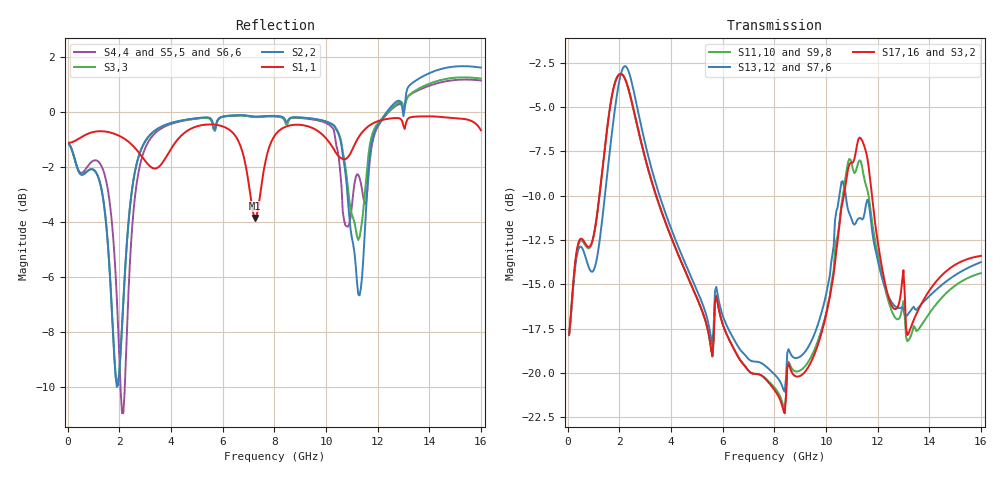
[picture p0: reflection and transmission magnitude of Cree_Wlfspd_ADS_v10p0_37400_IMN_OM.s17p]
! AWR Design Environment (9226) Fri Apr 12 11:08:25 2019
! Document = '37400_IMN_OM'
! nPorts: 17, nXvals: 321
!Freq DBS11 AngS11 DBS12 AngS12 DBS13 AngS13 DBS14 AngS14
!	DBS15 AngS15 DBS16 AngS16 DBS17 AngS17 DBS18 AngS18
!	DBS19 AngS19 DBS1_10 AngS1_10 DBS1_11 AngS1_11 DBS1_12 AngS1_12
!	DBS1_13 AngS1_13 DBS1_14 AngS1_14 DBS1_15 AngS1_15 DBS1_16 AngS1_16
!	DBS1_17 AngS1_17
!	DBS21 AngS21 DBS22 AngS22 DBS23 AngS23 DBS24 AngS24
!	DBS25 AngS25 DBS26 AngS26 DBS27 AngS27 DBS28 AngS28
!	DBS29 AngS29 DBS2_10 AngS2_10 DBS2_11 AngS2_11 DBS2_12 AngS2_12
!	DBS2_13 AngS2_13 DBS2_14 AngS2_14 DBS2_15 AngS2_15 DBS2_16 AngS2_16
!	DBS2_17 AngS2_17
!	DBS31 AngS31 DBS32 AngS32 DBS33 AngS33 DBS34 AngS34
!	DBS35 AngS35 DBS36 AngS36 DBS37 AngS37 DBS38 AngS38
!	DBS39 AngS39 DBS3_10 AngS3_10 DBS3_11 AngS3_11 DBS3_12 AngS3_12
!	DBS3_13 AngS3_13 DBS3_14 AngS3_14 DBS3_15 AngS3_15 DBS3_16 AngS3_16
!	DBS3_17 AngS3_17
!	DBS41 AngS41 DBS42 AngS42 DBS43 AngS43 DBS44 AngS44
!	DBS45 AngS45 DBS46 AngS46 DBS47 AngS47 DBS48 AngS48
!	DBS49 AngS49 DBS4_10 AngS4_10 DBS4_11 AngS4_11 DBS4_12 AngS4_12
!	DBS4_13 AngS4_13 DBS4_14 AngS4_14 DBS4_15 AngS4_15 DBS4_16 AngS4_16
!	DBS4_17 AngS4_17
!	DBS51 AngS51 DBS52 AngS52 DBS53 AngS53 DBS54 AngS54
!	DBS55 AngS55 DBS56 AngS56 DBS57 AngS57 DBS58 AngS58
!	DBS59 AngS59 DBS5_10 AngS5_10 DBS5_11 AngS5_11 DBS5_12 AngS5_12
!	DBS5_13 AngS5_13 DBS5_14 AngS5_14 DBS5_15 AngS5_15 DBS5_16 AngS5_16
!	DBS5_17 AngS5_17
!	DBS61 AngS61 DBS62 AngS62 DBS63 AngS63 DBS64 AngS64
!	DBS65 AngS65 DBS66 AngS66 DBS67 AngS67 DBS68 AngS68
!	DBS69 AngS69 DBS6_10 AngS6_10 DBS6_11 AngS6_11 DBS6_12 AngS6_12
!	DBS6_13 AngS6_13 DBS6_14 AngS6_14 DBS6_15 AngS6_15 DBS6_16 AngS6_16
!	DBS6_17 AngS6_17
!	DBS71 AngS71 DBS72 AngS72 DBS73 AngS73 DBS74 AngS74
!	DBS75 AngS75 DBS76 AngS76 DBS77 AngS77 DBS78 AngS78
!	DBS79 AngS79 DBS7_10 AngS7_10 DBS7_11 AngS7_11 DBS7_12 AngS7_12
!	DBS7_13 AngS7_13 DBS7_14 AngS7_14 DBS7_15 AngS7_15 DBS7_16 AngS7_16
!	DBS7_17 AngS7_17
!	DBS81 AngS81 DBS82 AngS82 DBS83 AngS83 DBS84 AngS84
!	DBS85 AngS85 DBS86 AngS86 DBS87 AngS87 DBS88 AngS88
!	DBS89 AngS89 DBS8_10 AngS8_10 DBS8_11 AngS8_11 DBS8_12 AngS8_12
!	DBS8_13 AngS8_13 DBS8_14 AngS8_14 DBS8_15 AngS8_15 DBS8_16 AngS8_16
!	DBS8_17 AngS8_17
!	DBS91 AngS91 DBS92 AngS92 DBS93 AngS93 DBS94 AngS94
!	DBS95 AngS95 DBS96 AngS96 DBS97 AngS97 DBS98 AngS98
!	DBS99 AngS99 DBS9_10 AngS9_10 DBS9_11 AngS9_11 DBS9_12 AngS9_12
!	DBS9_13 AngS9_13 DBS9_14 AngS9_14 DBS9_15 AngS9_15 DBS9_16 AngS9_16
!	DBS9_17 AngS9_17
!	DBS10_1 AngS10_1 DBS10_2 AngS10_2 DBS10_3 AngS10_3 DBS10_4 AngS10_4
!	DBS10_5 AngS10_5 DBS10_6 AngS10_6 DBS10_7 AngS10_7 DBS10_8 AngS10_8
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# GHz S DB R 50
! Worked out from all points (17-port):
!   320 points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, 50 MHz to 16 GHz, reference 50 ohm
!   strongest paths, dB at 50 MHz, 4.05 GHz, 8.05 GHz, 12.05 GHz, 16 GHz:
!     S17,16: -17.8, -12.5, -21.1, -13.0, -13.4
!     S3,2: -17.8, -12.5, -21.1, -13.0, -13.4
!     S13,12: -17.9, -12.0, -20.2, -13.9, -13.8
!     S7,6: -17.9, -12.0, -20.2, -13.9, -13.8
!     S11,10: -17.8, -12.5, -20.9, -13.7, -14.4
!     S9,8: -17.8, -12.5, -20.9, -13.7, -14.4
!   lowest |S11| = -3.9 dB at 7.25 GHz (marker M1), VSWR 4.57, Z = 10.9 + j0.5 ohm
!   |S11| at or under -10 dB: nowhere
